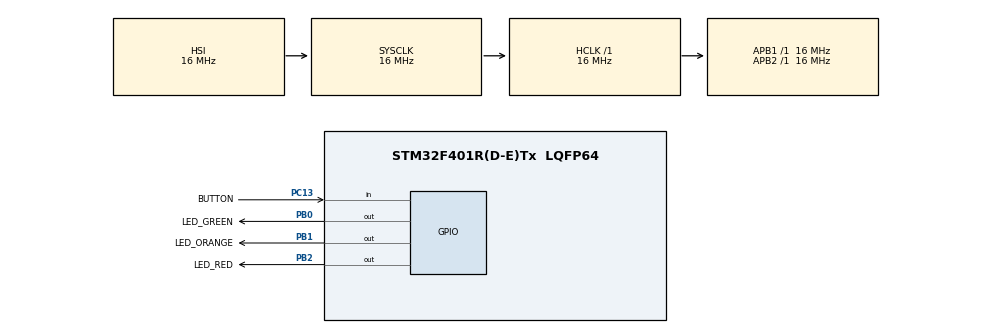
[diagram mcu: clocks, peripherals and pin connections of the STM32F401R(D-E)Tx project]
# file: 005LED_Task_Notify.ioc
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FREERTOS.Tasks01=defaultTask,24,128,StartDefaultTask,Default,NULL,Dynamic,NULL,NULL
Mcu.Family=STM32F4
Mcu.Name=STM32F401R(D-E)Tx
Mcu.Package=LQFP64
NVIC.PriorityGroup=NVIC_PRIORITYGROUP_4
NVIC.TIM5_IRQn=true\:15\:0\:false\:false\:true\:false\:false\:true\:true
NVIC.TimeBase=TIM5_IRQn
NVIC.TimeBaseIP=TIM5
PB0.GPIO_Label=LED_GREEN
PB0.Signal=GPIO_Output
PB1.GPIO_Label=LED_ORANGE
PB1.Signal=GPIO_Output
PB2.GPIO_Label=LED_RED
PB2.Signal=GPIO_Output
PC13-ANTI_TAMP.GPIO_Label=BUTTON
PC13-ANTI_TAMP.Signal=GPIO_Input
ProjectManager.HeapSize=0x200
ProjectManager.StackSize=0x400
ProjectManager.TargetToolchain=STM32CubeIDE
RCC.AHBFreq_Value=16000000
RCC.APB1Freq_Value=16000000
RCC.APB2Freq_Value=16000000
RCC.CortexFreq_Value=16000000
RCC.HSE_VALUE=25000000
RCC.HSI_VALUE=16000000
RCC.LSE_VALUE=32768
RCC.SYSCLKFreq_VALUE=16000000
RCC.VCOOutputFreq_Value=192000000
VP_FREERTOS_VS_CMSIS_V2.Mode=CMSIS_V2
VP_SYS_VS_tim5.Mode=TIM5
board=custom

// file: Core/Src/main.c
/* USER CODE BEGIN Header */

/**
  ******************************************************************************
  * @file           : main.c
  * @brief          : Main program body
  ******************************************************************************
  * @attention
  *
  * Copyright (c) 2026 STMicroelectronics.
  * All rights reserved.
  *
  ******************************************************************************
  */

/* USER CODE END Header */

#include "main.h"

#include "cmsis_os.h"

/* USER CODE BEGIN Includes */

#include <stdio.h>

#include "FreeRTOS.h"

#include "task.h"

#include "SEGGER_SYSVIEW.h"

#include <string.h>

/* USER CODE END Includes */

/* Definitions for defaultTask */

osThreadId_t defaultTaskHandle;

const osThreadAttr_t defaultTask_attributes = {

  .name = "defaultTask",

  .stack_size = 128 * 4,

  .priority = (osPriority_t) osPriorityNormal,

};

/* USER CODE BEGIN PV */

#define DEMCR      (*(volatile uint32_t*)0xE000EDFC)

#define DWT_CTRL   (*(volatile uint32_t*)0xE0001000)

#define DWT_CYCCNT (*(volatile uint32_t*)0xE0001004)

TaskHandle_t task1_handle = NULL;

TaskHandle_t task2_handle = NULL;

TaskHandle_t task3_handle = NULL;

TaskHandle_t task4_handle = NULL;

TaskHandle_t next_task_handle = NULL;

BaseType_t Status;

/* USER CODE END PV */

void SystemClock_Config(void);

static void MX_GPIO_Init(void);

void StartDefaultTask(void *argument);

/* USER CODE BEGIN PFP */

static void led_green_handler(void *parameters);

static void led_orange_handler(void *parameters);

static void led_red_handler(void *parameters);

static void button_handler(void *parameters);

extern void SEGGER_UART_init(uint32_t);

/* USER CODE END PFP */

int main(void)

{

  /* MCU Configuration--------------------------------------------------------*/

  /* Reset of all peripherals, Initializes the Flash interface and the Systick. */

  HAL_Init();

  /* Configure the system clock */

  SystemClock_Config();

  /* Initialize all configured peripherals */

  MX_GPIO_Init();

  /* USER CODE BEGIN 2 */

  DEMCR |= (1 << 24);      // Enable trace

  DWT_CYCCNT = 0;          // Reset cycle counter

  DWT_CTRL |= (1 << 0);    // Enable CYCCNT

  SEGGER_SYSVIEW_Conf();

  SEGGER_SYSVIEW_Start();

  Status = xTaskCreate(led_green_handler,

                       "Led_green_task",

                       200,

                       NULL,

                       3,

                       &task1_handle);

  configASSERT(Status == pdPASS);

  next_task_handle = task1_handle;

  Status = xTaskCreate(led_orange_handler,

                       "Led_orange_task",

                       200,

                       NULL,

                       2,

                       &task2_handle);

  configASSERT(Status == pdPASS);

  Status = xTaskCreate(led_red_handler,

                       "Led_red_task",

                       200,

                       NULL,

                       1,

                       &task3_handle);

  configASSERT(Status == pdPASS);

  Status = xTaskCreate(button_handler,

                       "Button_task",

                       200,

                       NULL,

                       4,

                       &task4_handle);

  configASSERT(Status == pdPASS);

  /* Start FreeRTOS scheduler */

  vTaskStartScheduler();

  /* USER CODE END 2 */

  /* Init scheduler */

  //osKernelInitialize();

  /* Create the thread(s) */

  /* creation of defaultTask */

  //defaultTaskHandle = osThreadNew(StartDefaultTask, NULL, &defaultTask_attributes);

  /* Start scheduler */

  //osKernelStart();

  /* We should never get here as control is now taken by the scheduler */

  /* Infinite loop */

  /* USER CODE BEGIN WHILE */

  //while (1)

  {

    /* USER CODE END WHILE */

  }

}

void SystemClock_Config(void)

{

  RCC_OscInitTypeDef RCC_OscInitStruct = {0};

  RCC_ClkInitTypeDef RCC_ClkInitStruct = {0};

  /** Configure the main internal regulator output voltage
  */

  __HAL_RCC_PWR_CLK_ENABLE();

  __HAL_PWR_VOLTAGESCALING_CONFIG(PWR_REGULATOR_VOLTAGE_SCALE2);

  /** Initializes the RCC Oscillators according to the specified parameters
  * in the RCC_OscInitTypeDef structure.
  */

  RCC_OscInitStruct.OscillatorType = RCC_OSCILLATORTYPE_HSI;

  RCC_OscInitStruct.HSIState = RCC_HSI_ON;

  RCC_OscInitStruct.HSICalibrationValue = RCC_HSICALIBRATION_DEFAULT;

  RCC_OscInitStruct.PLL.PLLState = RCC_PLL_NONE;

  if (HAL_RCC_OscConfig(&RCC_OscInitStruct) != HAL_OK)

  {

    Error_Handler();

  }

  /** Initializes the CPU, AHB and APB buses clocks
  */

  RCC_ClkInitStruct.ClockType = RCC_CLOCKTYPE_HCLK|RCC_CLOCKTYPE_SYSCLK

                              |RCC_CLOCKTYPE_PCLK1|RCC_CLOCKTYPE_PCLK2;

  RCC_ClkInitStruct.SYSCLKSource = RCC_SYSCLKSOURCE_HSI;

  RCC_ClkInitStruct.AHBCLKDivider = RCC_SYSCLK_DIV1;

  RCC_ClkInitStruct.APB1CLKDivider = RCC_HCLK_DIV1;

  RCC_ClkInitStruct.APB2CLKDivider = RCC_HCLK_DIV1;

  if (HAL_RCC_ClockConfig(&RCC_ClkInitStruct, FLASH_LATENCY_0) != HAL_OK)

  {

    Error_Handler();

  }

}

static void MX_GPIO_Init(void)

{

  GPIO_InitTypeDef GPIO_InitStruct = {0};

  /* GPIO Ports Clock Enable */

  __HAL_RCC_GPIOC_CLK_ENABLE();

  __HAL_RCC_GPIOB_CLK_ENABLE();

  /*Configure GPIO pin Output Level */

  HAL_GPIO_WritePin(GPIOB, LED_GREEN_Pin|LED_ORANGE_Pin|LED_RED_Pin, GPIO_PIN_RESET);

  /*Configure GPIO pin : BUTTON_Pin */

  GPIO_InitStruct.Pin = BUTTON_Pin;

  GPIO_InitStruct.Mode = GPIO_MODE_INPUT;

  GPIO_InitStruct.Pull = GPIO_NOPULL;

  HAL_GPIO_Init(BUTTON_GPIO_Port, &GPIO_InitStruct);

  /*Configure GPIO pins : LED_GREEN_Pin LED_ORANGE_Pin LED_RED_Pin */

  GPIO_InitStruct.Pin = LED_GREEN_Pin|LED_ORANGE_Pin|LED_RED_Pin;

  GPIO_InitStruct.Mode = GPIO_MODE_OUTPUT_PP;

  GPIO_InitStruct.Pull = GPIO_NOPULL;

  GPIO_InitStruct.Speed = GPIO_SPEED_FREQ_LOW;

  HAL_GPIO_Init(GPIOB, &GPIO_InitStruct);

}

/* USER CODE BEGIN 4 */

static void led_green_handler(void *parameters)

{

	BaseType_t status;

    while(1)

    {

    	SEGGER_SYSVIEW_PrintfTarget("Toggling green LED");

        HAL_GPIO_TogglePin(GPIOB, LED_GREEN_Pin);

        status = xTaskNotifyWait(0,0,NULL,pdMS_TO_TICKS(1000));

        if(status == pdTRUE){

        	vTaskSuspendAll();

        	next_task_handle = task2_handle;

        	xTaskResumeAll();

        	HAL_GPIO_WritePin(GPIOB,LED_GREEN_Pin,GPIO_PIN_SET);

        	SEGGER_SYSVIEW_PrintfTarget("Delete green LED task");

        	vTaskDelete(NULL);

        }

    }

}

static void led_orange_handler(void *parameters)

{

	BaseType_t status;

    while(1)

    {

    	SEGGER_SYSVIEW_PrintfTarget("Toggling Orange LED");

        HAL_GPIO_TogglePin(GPIOB, LED_ORANGE_Pin);

        status = xTaskNotifyWait(0,0,NULL,pdMS_TO_TICKS(800));

        if(status == pdTRUE){

        	vTaskSuspendAll();

        	next_task_handle = task3_handle;

        	xTaskResumeAll();

        	HAL_GPIO_WritePin(GPIOB,LED_ORANGE_Pin,GPIO_PIN_SET);

        	SEGGER_SYSVIEW_PrintfTarget("Delete orange LED task");

        	vTaskDelete(NULL);

        }

    }

}

static void led_red_handler(void *parameters)

{

	BaseType_t status;

    while(1)

    {

    	SEGGER_SYSVIEW_PrintfTarget("Toggling red LED");

        HAL_GPIO_TogglePin(GPIOB, LED_RED_Pin);

        status = xTaskNotifyWait(0,0,NULL,pdMS_TO_TICKS(400));

        if(status == pdTRUE){

        	vTaskSuspendAll();

        	next_task_handle = NULL;

        	xTaskResumeAll();

        	HAL_GPIO_WritePin(GPIOB,LED_RED_Pin,GPIO_PIN_SET);

        	SEGGER_SYSVIEW_PrintfTarget("Delete red LED task");

        	vTaskDelete(NULL);

        }

    }

}

static void button_handler(void *parameters)

{

	uint8_t btn_read = 0;

	uint8_t prev_read = 0;

	while(1)

	{

	btn_read = HAL_GPIO_ReadPin(GPIOC,GPIO_PIN_13);

	if(btn_read)

	{

		if(!prev_read)

		{

			if(next_task_handle != NULL)

			{

				xTaskNotify(next_task_handle,0,eNoAction);

			}

		}

	}

	prev_read = btn_read;

	vTaskDelay(pdMS_TO_TICKS(10));

	}

}

/* USER CODE END 4 */

void StartDefaultTask(void *argument)

{

  for(;;)
  {
    osDelay(1);
  }

}

void HAL_TIM_PeriodElapsedCallback(TIM_HandleTypeDef *htim)

{

  if (htim->Instance == TIM5)

  {

    HAL_IncTick();

  }

}

void Error_Handler(void)

{

  __disable_irq();
  while (1)
  {
  }

}

#ifdef USE_FULL_ASSERT

/**
  * @brief  Reports the name of the source file and the source line number
  *         where the assert_param error has occurred.
  * @param  file: pointer to the source file name
  * @param  line: assert_param error line number
  * @retval None
  */

void assert_failed(uint8_t *file, uint32_t line)

{

  /* USER CODE BEGIN 6 */

  /* User can add implementation to report the file name and line number,
     ex: printf("Wrong parameters value: file %s on line %d\r\n", file, line) */

  /* USER CODE END 6 */

}

#endif /* USE_FULL_ASSERT */
